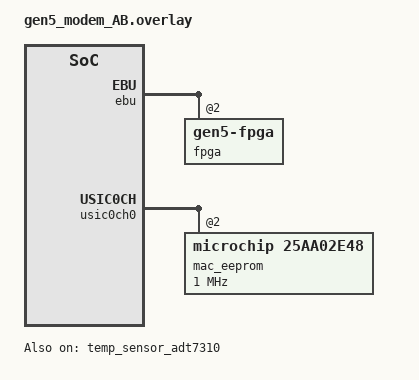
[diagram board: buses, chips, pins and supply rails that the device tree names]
/{
	aliases {
		temp-sensor = &temp_sensor_adt7310;
	};
};

&plc {
	hw-reset-gpios = <&gpio0 15 0>;
};

&temp_sensor_adt7310 {
	status = "okay";
};

&ebu {
	fpga: gen5-fpga@2 {
		reg = <2>;
		device-type = "Muxed Asynchronous Type";
		address-bus-width = "16-bit";

		address-valid-cycles = <15 15>;
		address-hold-cycles = <4 4>;
		command-delay-cycles = <0 0>;
		command-cycles = <32 20>;
		data-hold-cycles = <0 4>;
		recovery-cycles = <7 0>;
	};
};

/{
	gen5_fpga: gen5_fpga@68000000 {
		status = "disabled";
		compatible = "infineon,xmc4xxx-gen5-fpga";
		reg = <0x68000000 0x4000000>;
		int-gpios = <&gpio0 0 GPIO_ACTIVE_LOW>;
		rx-enable-gpios = <&gpio5 11 0>;
		current-measure-enable-gpios = <&gpio5 10 0>;
		pll-locked-gpios = <&gpio2 14 0>;
		modb-int-de-gpios = <&gpio5 7 0>;
		modb-int-tx-gpios = <&gpio5 6 0>;
		clocks = <&pwmclock 0>;
	};

	gen5_time_sync: gen5_time_sync {
		status = "disabled";
		compatible = "infineon,xmc4xxx-gen5-time-sync";
		time-sync-error-gpios = <&gpio6 4 0>;
	};

	gen5_emotas_can: gen5_emotas_can {
		compatible = "emotas,can-open";
		can-handles = <&canfd>;
	};
};

&usic0ch0 {
	cs-gpios = <&gpio4 5 GPIO_ACTIVE_LOW
		    &gpio1 0 GPIO_ACTIVE_LOW
		    &gpio6 6 GPIO_ACTIVE_LOW>;

	mac_eeprom: mac_eeprom@2 {
		status = "okay";
		compatible = "microchip,25aa02e48", "atmel,at25";
		spi-max-frequency = <1000000>;
		reg = <0x2>;
		size = <256>;
		pagesize = <16>;
		timeout = <100>;
		address-width = <8>;
	};
};

&eth {
	mac-eeprom = <&mac_eeprom>;
};

&gpio5 {
	status = "okay";
};

&gpio6 {
	status = "okay";
};
